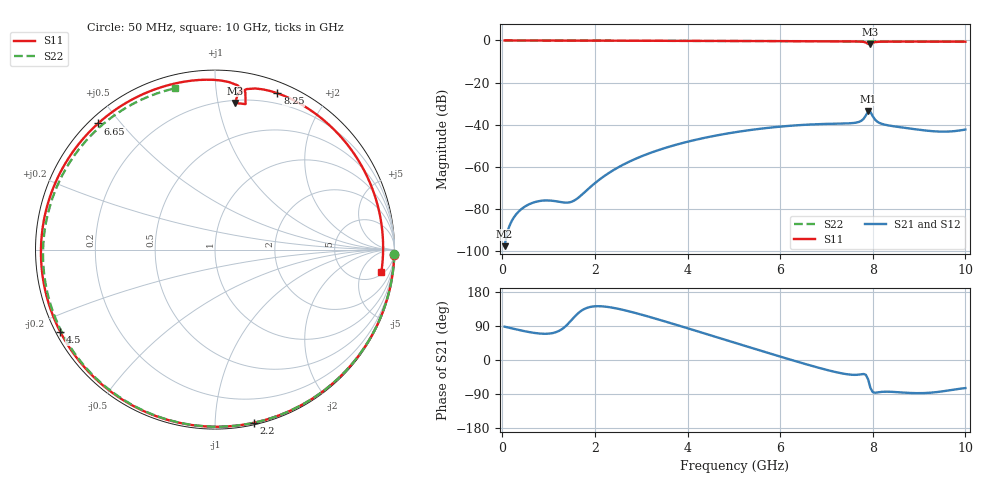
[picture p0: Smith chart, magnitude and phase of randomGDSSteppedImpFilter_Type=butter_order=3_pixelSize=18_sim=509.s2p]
! freq	dB(S11)	phase(S11)	dB(S12)	phase(S12)
!  dB(S21)	phase(S21)	dB(S22)	phase(S22)
!S-par simulation data
#  GHz  S  DB  R 50
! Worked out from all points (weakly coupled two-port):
!   200 points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, 50 MHz to 10 GHz, reference 50 ohm
!   highest |S21| = -33.69 dB at 7.9 GHz (marker M1); lowest = -97.6 dB at 50 MHz (marker M2)
!   lowest |S11| = -1.7 dB at 7.95 GHz (marker M3), VSWR 10.41, Z = 11 + j56.1 ohm
!   |S11| at or under -10 dB: nowhere
!   |S22| runs from -0.7 to 0.0 dB; largest |S21 - S12| = 0
!   S11 on the Smith chart (normalised r, x): 50 MHz: 1, -62; 2.2 GHz: 0.01, -1.25; 4.5 GHz: 0.01, -0.25; 6.65 GHz: 0.03, +0.44; 8.25 GHz: 0.10, +1.47; 10 GHz: 6, -12
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0.05  -0.00 -1.8  -97.61 88.0  -97.61 88.0  -0.00 -1.4
0.4  -0.02 -14.5  -80.25 78.1  -80.25 78.1  -0.01 -10.8
0.85  -0.04 -30.7  -76.04 69.4  -76.04 69.4  -0.03 -22.9
1.45  -0.07 -51.8  -76.83 99.3  -76.83 99.3  -0.05 -38.8
1.75  -0.08 -62.1  -72.58 133.2  -72.58 133.2  -0.06 -46.6
2.2  -0.10 -77.4  -64.37 141.1  -64.37 141.1  -0.07 -58.0
2.75  -0.12 -95.6  -57.43 128.0  -57.43 128.0  -0.09 -71.7
3.4  -0.15 -116.6  -51.82 105.9  -51.82 105.9  -0.11 -87.5
4.5  -0.21 -151.9  -45.61 65.1  -45.61 65.1  -0.16 -113.1
5.05  -0.25 -169.9  -43.47 44.4  -43.47 44.4  -0.19 -125.7
5.85  -0.31 162.6  -41.21 14.6  -41.21 14.6  -0.24 -143.9
6.65  -0.37 132.8  -39.88 -14.3  -39.88 -14.3  -0.30 -162.4
6.7  -0.37 130.8  -39.83 -16.1  -39.83 -16.1  -0.31 -163.6
7.65  -0.48 90.5  -38.95 -39.1  -38.95 -39.1  -0.40 173.2
7.8  -0.68 82.3  -37.24 -36.9  -37.24 -36.9  -0.42 169.4
7.9  -1.64 78.1  -33.69 -51.4  -33.69 -51.4  -0.43 166.8
7.95  -1.67 82.2  -33.91 -73.9  -33.91 -73.9  -0.44 165.5
8.05  -0.80 78.8  -37.60 -86.4  -37.60 -86.4  -0.44 162.9
8.25  -0.56 68.3  -39.91 -83.7  -39.91 -83.7  -0.46 157.5
8.35  -0.53 63.5  -40.36 -83.7  -40.36 -83.7  -0.48 154.8
9.2  -0.53 25.5  -42.88 -86.7  -42.88 -86.7  -0.57 130.0
10  -0.58 -7.7  -42.27 -74.1  -42.27 -74.1  -0.67 104.0
